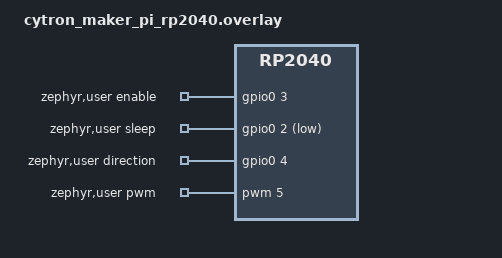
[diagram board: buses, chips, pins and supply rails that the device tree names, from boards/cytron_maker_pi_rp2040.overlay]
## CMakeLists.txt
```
# Copyright (c) 2024 TiaC Systems
# SPDX-License-Identifier: Apache-2.0

cmake_minimum_required(VERSION 3.20.0)

# Standard Bridle application boilerplate, includes Zephyr.
find_package(Bridle REQUIRED HINTS $ENV{BRIDLE_BASE})
project("Accel" VERSION 0.1)

# Add your source file to the "app" target. This must come after
# the boilerplate code, which defines the target.
target_sources(app PRIVATE src/main.c)
```

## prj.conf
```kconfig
CONFIG_GPIO=y
CONFIG_PWM=y
CONFIG_HEAP_MEM_POOL_SIZE=4096
```

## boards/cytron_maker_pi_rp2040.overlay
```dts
/*
 * Copyright (c) 2024 TiaC Systems
 * SPDX-License-Identifier: Apache-2.0
 */

#include <zephyr/dt-bindings/gpio/gpio.h>
#include <zephyr/dt-bindings/pwm/pwm.h>

/ {
	zephyr,user {
		enable-gpios = < &gpio0 3 0 >;
		sleep-gpios = < &gpio0 2 GPIO_ACTIVE_LOW >;
		pwms = < &pwm 5 PWM_SEC(1) PWM_POLARITY_NORMAL >;
		direction-gpios = < &gpio0 4 0 >;
	};
};

&gpio0 {
	status = "okay";
};

&pwm_makerpi {
	group3_step {
		 pinmux = <PWM_2B_P5>;		/* GP5: PWM2CHB (5) */
	 };
 };

 &pwm {
	divider-frac-2 = <15>;
	divider-int-2 = <255>;
 };
```

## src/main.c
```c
/*
 * Copyright (c) 2024 TiaC Systems
 * SPDX-License-Identifier: Apache-2.0
 */

#include <zephyr/drivers/gpio.h>
#include <zephyr/drivers/pwm.h>
#include <zephyr/kernel.h>
#include <stdlib.h>
#include <string.h>

#include "zephyr/sys/slist.h"
#include "zephyr/sys/util.h"
#include "zephyr/sys_clock.h"

const struct gpio_dt_spec enable_pin =
    GPIO_DT_SPEC_GET(DT_PATH(zephyr_user), enable_gpios);
const struct gpio_dt_spec sleep_pin =
    GPIO_DT_SPEC_GET(DT_PATH(zephyr_user), sleep_gpios);
const struct gpio_dt_spec direction_pin =
    GPIO_DT_SPEC_GET(DT_PATH(zephyr_user), direction_gpios);
const struct pwm_dt_spec pwm = PWM_DT_SPEC_GET(DT_PATH(zephyr_user));

enum stepper_action_type {
	STEPPER_ACTION_POSIIONING,
	STEPPER_ACTION_VELOCITY,
	STEPPER_ACTION_ACCELERATION,
};

struct stepper_action {
	/** Type of this action. */
	enum stepper_action_type type;
	/** Additional flags, e.g. microstep resolution. */
	uint32_t flags;
	union {
		/** Step-precise movement with constant velocity. */
		struct positioning_action {
			/** Stepping velocity during this movement
			 * (milli-arcseconds/s). Sign encodes direction.
			 */
			int32_t velocity;
			/** Number of steps to take */
			uint32_t steps;
		} positioning;
		/** Coasting at constant velocity for specified time */
		struct velocity_action {
			/** Stepping velocity (milli-arcseconds/s) (sign encodes
			 * direction).
			 */
			int32_t velocity;
			/** Coasting time in microseconds. */
			uint32_t duration_us;
		} velocity;
		struct acceleration_action {
			/** Stepping velocity at the start of the action
			 * (milli-arcseconds/s). */
			int32_t start_velocity;
			/** Stepping velocity at the end of the action
			 * (milli-arcseconds(s). */
			int32_t end_velocity;
			/** Duration of the action in microseconds */
			uint32_t duration_us;
		} acceleration;
	} action;
};

struct stepper_action_stream_item {
	sys_snode_t node;
	struct stepper_action action;
};

typedef sys_slist_t stepper_action_stream_t;

void stepper_action_stream_init(stepper_action_stream_t *stream) {
	sys_slist_init(stream);
}

int stepper_action_stream_append(stepper_action_stream_t *stream, struct stepper_action *action) {
	struct stepper_action_stream_item *stream_item = k_calloc(1, sizeof(struct stepper_action_stream_item));
	memcpy(&stream_item->action, action, sizeof stream_item->action);
	sys_slist_append(stream, &stream_item->node);
	return 0;
}

int stepper_action_stream_get(stepper_action_stream_t *stream, struct stepper_action *action) {
	sys_snode_t *node = sys_slist_get(stream);
	if (node == NULL) {
		return -1;
	}
	struct stepper_action_stream_item *item = CONTAINER_OF(node, struct stepper_action_stream_item, node);
	memcpy(action, &item->action, sizeof item->action);
	k_free(item);
	return 0;
}

int set_direction(int32_t velocity) {
	int value = 0;
	if (velocity >= 0) {
		value = 1;
	} else {
		value = 0;
	}
	return gpio_pin_set_dt(&direction_pin, value);
}

int pwm_off(void) { return pwm_set_cycles(pwm.dev, pwm.channel, 1, 0, 0); }

int set_pwm_freq(uint32_t freq_hz) {
	if (freq_hz == 0) {
		return pwm_off();
	}
	uint32_t pulse_width_ns = NSEC_PER_SEC / freq_hz;
	return pwm_set_dt(&pwm, pulse_width_ns, pulse_width_ns / 2);
}

int do_action(const struct stepper_action *action) {
	if (action->type == STEPPER_ACTION_VELOCITY) {
		int32_t velocity = action->action.velocity.velocity;
		uint32_t time_us = action->action.velocity.duration_us;
		uint32_t freq = velocity;  // pretend v is steps/s
		set_direction(velocity);
		set_pwm_freq(freq);
		k_sleep(K_USEC(time_us));
		pwm_off();
	} else if (action->type == STEPPER_ACTION_ACCELERATION) {

		uint32_t duration_us = action->action.acceleration.duration_us;
		int32_t start_velocity = action->action.acceleration.start_velocity;
		int32_t end_velocity = action->action.acceleration.end_velocity;

		uint32_t dt_us = 1000; // 1 ms
		uint64_t start_time = k_uptime_get() * USEC_PER_MSEC;
		uint64_t finish_time = start_time + duration_us;

		uint64_t now = 0;
		while ((now = (k_uptime_get() * USEC_PER_MSEC)) < finish_time) {
			int32_t t_milliunit = ((1000 * (now - start_time)) / duration_us);
			int32_t velocity = ((1000 - t_milliunit) * start_velocity + t_milliunit * end_velocity) / 1000;
			set_direction(velocity);
			set_pwm_freq(abs(velocity)); // pretend unit is steps/s
			k_sleep(K_USEC(dt_us));
		}
		set_pwm_freq(end_velocity);

	} else {
		return -1;
	}

	return 0;
}

stepper_action_stream_t action_stream = SYS_SLIST_STATIC_INIT(&action_stream);

void stream_handler_thread_fn(void) {
	struct stepper_action action = {0};
	while (true) {

		if (stepper_action_stream_get(&action_stream, &action) == 0) {
			do_action(&action);
		} else {
			k_msleep(100);
		}
	}
}

K_THREAD_DEFINE(stepper_action_stream_handler, 4096, stream_handler_thread_fn, NULL, NULL, NULL, 10, 0, 0);

int main(void) {
	printk("Hello world!\n");

	printk("Initializing pins\n");
	gpio_pin_configure_dt(&enable_pin, GPIO_OUTPUT_ACTIVE);
	gpio_pin_configure_dt(&sleep_pin, GPIO_OUTPUT_INACTIVE);
	gpio_pin_configure_dt(&direction_pin, GPIO_OUTPUT_INACTIVE);

	printk("Trying some actions\n");

	struct stepper_action a1 = {
		.type = STEPPER_ACTION_ACCELERATION,
		.action.acceleration = {
			.duration_us = 2 * USEC_PER_SEC,
			.start_velocity = 10,
			.end_velocity = 500,
		},
	};
	struct stepper_action a2 = {
		.type = STEPPER_ACTION_VELOCITY,
		.action.velocity = {
			.duration_us = 10 * USEC_PER_SEC,
			.velocity = 500,
		},
	};
	struct stepper_action a3 = {
		.type = STEPPER_ACTION_ACCELERATION,
		.action.acceleration = {
			.duration_us = 3 * USEC_PER_SEC,
			.start_velocity = 500,
			.end_velocity = -200,
		},
	};
	struct stepper_action a4 = {
		.type = STEPPER_ACTION_VELOCITY,
		.action.velocity = {
			.duration_us = 10 * USEC_PER_SEC,
			.velocity = -200,
		},
	};
	struct stepper_action a5 = {
		.type = STEPPER_ACTION_ACCELERATION,
		.action.acceleration = {
			.duration_us = 1 * USEC_PER_SEC,
			.start_velocity = -200,
			.end_velocity = 0,
		},
	};

	stepper_action_stream_append(&action_stream, &a1);
	stepper_action_stream_append(&action_stream, &a2);
	stepper_action_stream_append(&action_stream, &a3);
	stepper_action_stream_append(&action_stream, &a4);
	stepper_action_stream_append(&action_stream, &a5);

	k_sleep(K_SECONDS(10));

	stepper_action_stream_append(&action_stream, &a1);
	stepper_action_stream_append(&action_stream, &a2);
	stepper_action_stream_append(&action_stream, &a3);
	stepper_action_stream_append(&action_stream, &a4);
	stepper_action_stream_append(&action_stream, &a5);


	printk("Done!\n");

	return 0;
}
```
